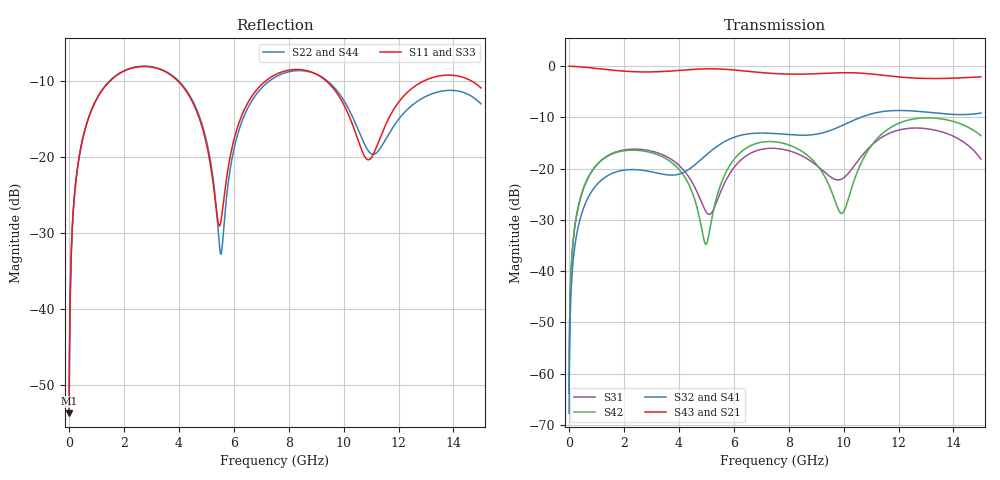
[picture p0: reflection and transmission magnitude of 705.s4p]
! Created with skrf 1.8.0 (http://scikit-rf.org).
# GHz S RI R 50.0
!freq ReS11 ImS11 ReS12 ImS12 ReS13 ImS13
! ReS14 ImS14
! ReS21 ImS21 ReS22 ImS22 ReS23 ImS23
! ReS24 ImS24
! ReS31 ImS31 ReS32 ImS32 ReS33 ImS33
! ReS34 ImS34
! ReS41 ImS41 ReS42 ImS42 ReS43 ImS43
! ReS44 ImS44
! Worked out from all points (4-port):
!   2499 points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, 5 MHz to 15 GHz, reference 50 ohm
!   strongest paths, dB at 5 MHz, 3.476 GHz, 7.19 GHz, 11.1 GHz, 15 GHz:
!     S43: 0.0, -1.0, -1.4, -1.6, -2.1
!     S21: 0.0, -1.0, -1.4, -1.6, -2.1
!     S32: -67.8, -21.1, -13.1, -9.2, -9.2
!     S41: -67.8, -21.2, -13.1, -9.2, -9.2
!     S42: -63.8, -17.9, -14.7, -14.9, -13.6
!     S31: -63.8, -17.5, -16.1, -15.1, -18.2
!   lowest |S11| = -53.8 dB at 5 MHz (marker M1), VSWR 1.00, Z = 50.2 + j0.125 ohm
!   |S11| at or under -10 dB: start of sweep to 1.491 GHz; 3.965 GHz to 7.16 GHz (3.195 GHz wide, 57.4 % of centre); 9.37 GHz to 12.92 GHz (3.55 GHz wide, 31.9 % of centre) (the widest 3 of 4)
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0.005  0.00163 0.00124  0.9983 -0.00318  8.17e-05 0.000637  -7.93e-05 -0.000401
       0.9983 -0.00318  0.00163 0.00124  -7.94e-05 -0.000401  8.16e-05 0.000637
       8.17e-05 0.000637  -7.94e-05 -0.000401  0.00163 0.00124  0.9983 -0.00318
       -7.93e-05 -0.000401  8.16e-05 0.000637  0.9983 -0.00318  0.00163 0.00124
0.3126303  0.0238 0.0818  0.9675 -0.1978  0.011 0.0378  -0.00899 -0.0236
           0.9675 -0.1978  0.0239 0.0818  -0.009 -0.0236  0.0106 0.0379
           0.011 0.0378  -0.009 -0.0236  0.0238 0.0818  0.9675 -0.1978
           -0.00899 -0.0236  0.0106 0.0379  0.9675 -0.1978  0.0239 0.0818
1.519383  0.2625 0.1827  0.5656 -0.7203  0.1253 0.0589  -0.0878 -0.00902
          0.5656 -0.7203  0.2639 0.1818  -0.0879 -0.00895  0.1203 0.0654
          0.1253 0.0589  -0.0879 -0.00895  0.2623 0.1827  0.5657 -0.7203
          -0.0878 -0.00902  0.1203 0.0654  0.5657 -0.7203  0.264 0.1818
5.345977  0.0365 -0.0316  -0.9282 -0.1467  -0.0327 0.031  -0.0231 0.1599
          -0.9282 -0.1467  0.0254 -0.0434  -0.0215 0.1601  0.0239 0.0424
          -0.0327 0.031  -0.0215 0.1601  0.0379 -0.0309  -0.9282 -0.1468
          -0.0231 0.1599  0.0239 0.0424  -0.9282 -0.1468  0.0239 -0.043
8.541059  0.3712 -0.0426  0.0182 0.8342  0.1032 -0.0802  0.204 -0.0538
          0.0182 0.8342  0.3681 -0.026  0.2036 -0.0568  0.111 -0.0915
          0.1032 -0.0802  0.2036 -0.0568  0.369 -0.044  0.0174 0.835
          0.204 -0.0538  0.111 -0.0915  0.0174 0.835  0.3668 -0.0236
11.22968  0.1129 0.0404  0.8258 0.0111  -0.0219 0.187  -0.00853 -0.3524
          0.8258 0.0111  0.1077 0.0017  -0.014 -0.3523  0.0699 0.1843
          -0.0219 0.187  -0.014 -0.3523  0.112 0.0421  0.8259 0.012
          -0.00853 -0.3524  0.0699 0.1843  0.8259 0.012  0.1089 0.00617
15  0.2288 -0.1698  -0.3034 -0.7235  0.1021 -0.0696  -0.3001 0.1746
    -0.3034 -0.7235  0.202 -0.0962  -0.2963 0.1833  0.0802 -0.1934
    0.1021 -0.0696  -0.2963 0.1833  0.2231 -0.1668  -0.301 -0.7261
    -0.3001 0.1746  0.0802 -0.1934  -0.301 -0.7261  0.1992 -0.0939
